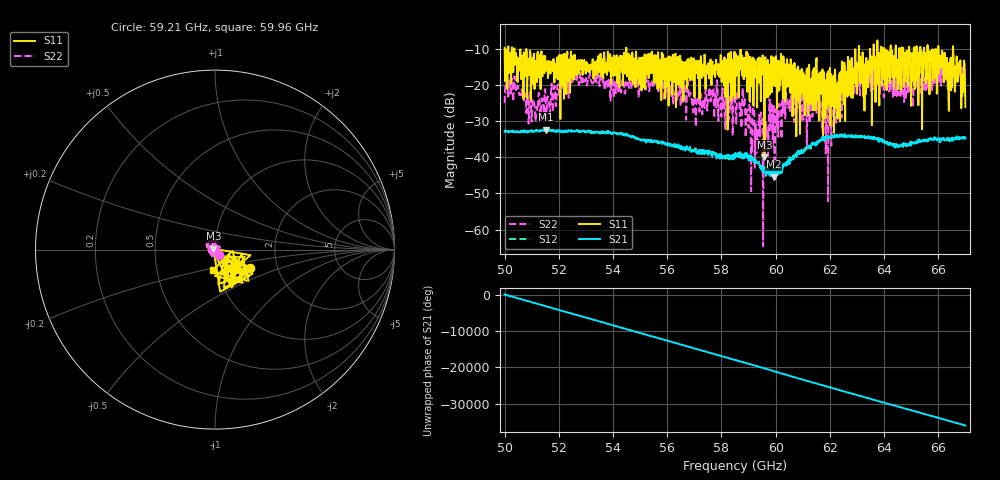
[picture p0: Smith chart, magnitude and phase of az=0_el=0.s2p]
!Created with skrf (http://scikit-rf.org).
# GHz S RI R 50.0
!freq ReS11 ImS11 ReS21 ImS21 ReS12 ImS12 ReS22 ImS22
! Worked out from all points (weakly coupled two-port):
!   1001 points, 50 GHz to 67 GHz, reference 50 ohm
!   highest |S21| = -32.34 dB at 51.53 GHz (marker M1); lowest = -45.4 dB at 59.93 GHz (marker M2)
!   lowest |S11| = -40.0 dB at 59.59 GHz (marker M3), VSWR 1.02, Z = 49.1 + j0.477 ohm
!   |S11| at or under -10 dB: 50.36 GHz to 54.49 GHz (4.13 GHz wide, 7.88 % of centre); 54.49 GHz to 63.07 GHz (8.581 GHz wide, 14.6 % of centre); 63.08 GHz to 63.61 GHz (536.3 MHz wide, 0.847 % of centre) (the widest 3 of 23)
!   |S22| runs from -64.6 to -13.9 dB; largest |S21 - S12| = 0.0025
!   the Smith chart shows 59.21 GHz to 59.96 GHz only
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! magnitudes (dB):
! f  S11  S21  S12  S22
! 50 GHz  -9.8  -33.0  -32.9  -25.0
! 50.34 GHz  -13.1  -33.0  -32.9  -20.1
! 51.53 GHz  -16.1  -32.3  -32.5  -28.1
! 52.84 GHz  -14.1  -32.7  -32.9  -19.4
! 55.68 GHz  -13.3  -36.0  -35.8  -21.8
! 57 GHz  -23.4  -38.3  -38.3  -21.8
! 57.62 GHz  -15.7  -39.1  -39.3  -22.1
! 58.5 GHz  -23.7  -40.0  -39.7  -24.3
! 58.79 GHz  -14.0  -40.3  -40.0  -20.9
! 59.3 GHz  -15.4  -41.5  -41.1  -39.1
! 59.44 GHz  -12.6  -42.5  -42.6  -30.7
! 59.59 GHz  -40.0  -43.9  -43.7  -29.4
! 59.93 GHz  -12.4  -45.4  -44.3  -25.8
! 60.64 GHz  -14.5  -39.9  -39.5  -22.1
! 61.34 GHz  -25.0  -36.2  -36.4  -25.7
! 62 GHz  -15.3  -34.3  -34.4  -25.0
! 62.6 GHz  -19.9  -34.1  -34.4  -19.1
! 64.18 GHz  -17.6  -36.4  -36.2  -18.4
! 66.08 GHz  -15.0  -35.1  -35.1  -15.7
! 66.42 GHz  -15.5  -35.6  -35.0  -16.3
! 66.75 GHz  -16.9  -35.0  -34.7  -18.3
! 67 GHz  -26.2  -34.6  -34.5  -15.7
